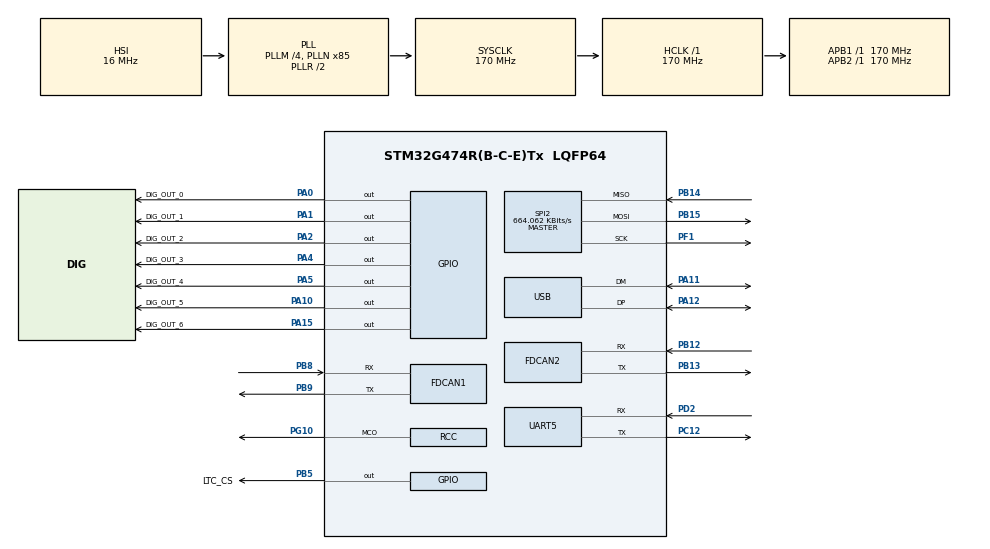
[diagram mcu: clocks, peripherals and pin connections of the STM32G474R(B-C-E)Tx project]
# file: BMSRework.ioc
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FDCAN1.CalculateBaudRateNominal=250000
FDCAN1.CalculateTimeBitNominal=4000
FDCAN1.CalculateTimeQuantumNominal=200.0
FDCAN1.NominalPrescaler=34
FDCAN1.NominalTimeSeg1=16
FDCAN1.NominalTimeSeg2=3
FDCAN2.CalculateBaudRateNominal=250000
FDCAN2.CalculateTimeBitNominal=4000
FDCAN2.CalculateTimeQuantumNominal=200.0
FDCAN2.NominalPrescaler=34
FDCAN2.NominalTimeSeg1=16
FDCAN2.NominalTimeSeg2=3
Mcu.Family=STM32G4
Mcu.Name=STM32G474R(B-C-E)Tx
Mcu.Package=LQFP64
NVIC.PriorityGroup=NVIC_PRIORITYGROUP_4
NVIC.TIM6_DAC_IRQn=true\:15\:0\:false\:false\:true\:false\:true\:true
NVIC.TimeBase=TIM6_DAC_IRQn
NVIC.TimeBaseIP=TIM6
NVIC.USB_LP_IRQn=true\:0\:0\:false\:false\:true\:false\:true\:true
PA0.GPIO_Label=DIG_OUT_0
PA0.Signal=GPIO_Output
PA1.GPIO_Label=DIG_OUT_1
PA1.Signal=GPIO_Output
PA10.GPIO_Label=DIG_OUT_5
PA10.Signal=GPIO_Output
PA11.Mode=Device
PA11.Signal=USB_DM
PA12.Mode=Device
PA12.Signal=USB_DP
PA13.Signal=SYS_JTMS-SWDIO
PA14.Signal=SYS_JTCK-SWCLK
PA15.GPIO_Label=DIG_OUT_6
PA15.Signal=GPIO_Output
PA2.GPIO_Label=DIG_OUT_2
PA2.Signal=GPIO_Output
PA4.GPIO_Label=DIG_OUT_3
PA4.Signal=GPIO_Output
PA5.GPIO_Label=DIG_OUT_4
PA5.Signal=GPIO_Output
PA6.Signal=QUADSPI1_BK1_IO3
PA7.Signal=QUADSPI1_BK1_IO2
PA8.Signal=I2C2_SDA
PA9.Signal=I2C2_SCL
PB12.Mode=FDCAN_Activate
PB12.Signal=FDCAN2_RX
PB13.Mode=FDCAN_Activate
PB13.Signal=FDCAN2_TX
PB14.Mode=Full_Duplex_Master
PB14.Signal=SPI2_MISO
PB15.Mode=Full_Duplex_Master
PB15.Signal=SPI2_MOSI
PB5.GPIO_Label=LTC_CS
PB5.Signal=GPIO_Output
PB8-BOOT0.Mode=FDCAN_Activate
PB8-BOOT0.Signal=FDCAN1_RX
PB9.Mode=FDCAN_Activate
PB9.Signal=FDCAN1_TX
PC12.Mode=Asynchronous
PC12.Signal=UART5_TX
PD2.Mode=Asynchronous
PD2.Signal=UART5_RX
PF0-OSC_IN.Mode=HSE-External-Clock-Source
PF0-OSC_IN.Signal=RCC_OSC_IN
PF1-OSC_OUT.Mode=Full_Duplex_Master
PF1-OSC_OUT.Signal=SPI2_SCK
PG10-NRST.Mode=Clock-out
PG10-NRST.Signal=RCC_MCO
ProjectManager.HeapSize=0x200
ProjectManager.StackSize=0x400
ProjectManager.TargetToolchain=CMake
RCC.ADC12Freq_Value=170000000
RCC.ADC345Freq_Value=170000000
RCC.AHBFreq_Value=170000000
RCC.APB1Freq_Value=170000000
RCC.APB1TimFreq_Value=170000000
RCC.APB2Freq_Value=170000000
RCC.APB2TimFreq_Value=170000000
RCC.CK48CLockSelection=RCC_USBCLKSOURCE_HSI48
RCC.CortexFreq_Value=170000000
RCC.EXTERNAL_CLOCK_VALUE=12288000
RCC.HCLKFreq_Value=170000000
RCC.HSE_VALUE=8000000
RCC.HSI48_VALUE=48000000
RCC.HSI_VALUE=16000000
RCC.LSE_VALUE=32768
RCC.PLLM=RCC_PLLM_DIV4
RCC.PLLN=85
RCC.SYSCLKFreq_VALUE=170000000
RCC.SYSCLKSource=RCC_SYSCLKSOURCE_PLLCLK
RCC.USBFreq_Value=48000000
RCC.VCOOutputFreq_Value=340000000
SPI2.BaudRatePrescaler=SPI_BAUDRATEPRESCALER_256
SPI2.CLKPhase=SPI_PHASE_2EDGE
SPI2.CalculateBaudRate=664.062 KBits/s
SPI2.DataSize=SPI_DATASIZE_8BIT
SPI2.Direction=SPI_DIRECTION_2LINES
SPI2.Mode=SPI_MODE_MASTER
SPI2.VirtualType=VM_MASTER
USB_DEVICE.CLASS_NAME_FS=CDC
USB_DEVICE.VirtualMode=Cdc
USB_DEVICE.VirtualModeFS=Cdc_FS
VP_SYS_VS_DBSignals.Mode=DisableDeadBatterySignals
VP_SYS_VS_tim6.Mode=TIM6
VP_USB_DEVICE_VS_USB_DEVICE_CDC_FS.Mode=CDC_FS
board=custom

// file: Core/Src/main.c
/* USER CODE BEGIN Header */
/**
  ******************************************************************************
  * @file           : main.c
  * @brief          : Main program body
  ******************************************************************************
  * @attention
  *
  * Copyright (c) 2026 STMicroelectronics.
  * All rights reserved.
  *
  * This software is licensed under terms that can be found in the LICENSE file
  * in the root directory of this software component.
  * If no LICENSE file comes with this software, it is provided AS-IS.
  *
  ******************************************************************************
  */
/*

Main sets up freeRTOS scheduler, global variables, and defines the freeRTOS Tasks. Keep as little code here as possible, and
instead define functions and logic in another file and link it here to avoid confusion and complexity.

*/
/* USER CODE END Header */
#include "main.h"
#include "usb_device.h"

/* USER CODE BEGIN Includes */

#include "include/control.h"
#include "include/ltc6811.h"
// #include "usbd_cdc_if.h"
#include "include/bmsInterface.h"
#include <stdint.h>
#include "include/dbg_print.h"

// #include <stdint.h>
// #include <stdio.h>

/* USER CODE END Includes */

FDCAN_HandleTypeDef hfdcan1;
FDCAN_HandleTypeDef hfdcan2;

SPI_HandleTypeDef hspi2;

UART_HandleTypeDef huart5;

/* USER CODE BEGIN PV */

///////////// GLOBAL variables and data structs /////////////

/* init itc6811 driver */
ltc6811_t g_ltc;

/* init BMS State */
BmsState bmsState;

/* init Modules data struct */
Modules_t modules;

/* USER CODE END PV */

void SystemClock_Config(void);
static void MX_GPIO_Init(void);
static void MX_FDCAN1_Init(void);
static void MX_FDCAN2_Init(void);
static void MX_SPI2_Init(void);
static void MX_UART5_Init(void);

/* USER CODE BEGIN 0 */

/*
Once BMS enters error state, interrupts are disabled and freeRTOS does not run any more tasks,
thus vTaskDelay does not work inside the error state loop. A another delay functions is needed
that counts system ticks that can work without freeRTOS
*/
static void ErrorDelayMs(uint32_t ms)
{
  CoreDebug->DEMCR |= CoreDebug_DEMCR_TRCENA_Msk; /* enable DWT */
  DWT->CTRL |= DWT_CTRL_CYCCNTENA_Msk;

  uint32_t start = DWT->CYCCNT;
  uint32_t cycles = ms * (SystemCoreClock / 1000U);

  while ((DWT->CYCCNT - start) < cycles) {
  }
}

/* USER CODE END 0 */

int main(void)
{

  /* MCU Configuration--------------------------------------------------------*/

  /* Reset of all peripherals, Initializes the Flash interface and the Systick. */
  HAL_Init();

  /* USER CODE BEGIN Init */
  dbg_init();

  /* USER CODE END Init */

  /* Configure the system clock */
  SystemClock_Config();

  /* Initialize all configured peripherals */
  MX_GPIO_Init();
  MX_FDCAN1_Init();
  MX_FDCAN2_Init();
  MX_USB_Device_Init();
  MX_SPI2_Init();
  MX_UART5_Init();

  /* Infinite loop */
  while (1)
  {

  }
}

void SystemClock_Config(void)
{
  RCC_OscInitTypeDef RCC_OscInitStruct = {0};
  RCC_ClkInitTypeDef RCC_ClkInitStruct = {0};

  /** Configure the main internal regulator output voltage
  */
  HAL_PWREx_ControlVoltageScaling(PWR_REGULATOR_VOLTAGE_SCALE1_BOOST);

  /** Initializes the RCC Oscillators according to the specified parameters
  * in the RCC_OscInitTypeDef structure.
  */
  RCC_OscInitStruct.OscillatorType = RCC_OSCILLATORTYPE_HSI|RCC_OSCILLATORTYPE_HSI48;
  RCC_OscInitStruct.HSIState = RCC_HSI_ON;
  RCC_OscInitStruct.HSICalibrationValue = RCC_HSICALIBRATION_DEFAULT;
  RCC_OscInitStruct.HSI48State = RCC_HSI48_ON;
  RCC_OscInitStruct.PLL.PLLState = RCC_PLL_ON;
  RCC_OscInitStruct.PLL.PLLSource = RCC_PLLSOURCE_HSI;
  RCC_OscInitStruct.PLL.PLLM = RCC_PLLM_DIV4;
  RCC_OscInitStruct.PLL.PLLN = 85;
  RCC_OscInitStruct.PLL.PLLP = RCC_PLLP_DIV2;
  RCC_OscInitStruct.PLL.PLLQ = RCC_PLLQ_DIV2;
  RCC_OscInitStruct.PLL.PLLR = RCC_PLLR_DIV2;
  if (HAL_RCC_OscConfig(&RCC_OscInitStruct) != HAL_OK)
  {
    Error_Handler();
  }

  /** Initializes the CPU, AHB and APB buses clocks
  */
  RCC_ClkInitStruct.ClockType = RCC_CLOCKTYPE_HCLK|RCC_CLOCKTYPE_SYSCLK
                              |RCC_CLOCKTYPE_PCLK1|RCC_CLOCKTYPE_PCLK2;
  RCC_ClkInitStruct.SYSCLKSource = RCC_SYSCLKSOURCE_PLLCLK;
  RCC_ClkInitStruct.AHBCLKDivider = RCC_SYSCLK_DIV1;
  RCC_ClkInitStruct.APB1CLKDivider = RCC_HCLK_DIV1;
  RCC_ClkInitStruct.APB2CLKDivider = RCC_HCLK_DIV1;

  if (HAL_RCC_ClockConfig(&RCC_ClkInitStruct, FLASH_LATENCY_4) != HAL_OK)
  {
    Error_Handler();
  }
  HAL_RCC_MCOConfig(RCC_MCO_PG10, RCC_MCO1SOURCE_HSI, RCC_MCODIV_1);
}

static void MX_FDCAN1_Init(void)
{

  hfdcan1.Instance = FDCAN1;
  hfdcan1.Init.ClockDivider = FDCAN_CLOCK_DIV1;
  hfdcan1.Init.FrameFormat = FDCAN_FRAME_CLASSIC;
  hfdcan1.Init.Mode = FDCAN_MODE_NORMAL;
  hfdcan1.Init.AutoRetransmission = DISABLE;
  hfdcan1.Init.TransmitPause = DISABLE;
  hfdcan1.Init.ProtocolException = DISABLE;
  hfdcan1.Init.NominalPrescaler = 34;
  hfdcan1.Init.NominalSyncJumpWidth = 1;
  hfdcan1.Init.NominalTimeSeg1 = 16;
  hfdcan1.Init.NominalTimeSeg2 = 3;
  hfdcan1.Init.DataPrescaler = 1;
  hfdcan1.Init.DataSyncJumpWidth = 1;
  hfdcan1.Init.DataTimeSeg1 = 1;
  hfdcan1.Init.DataTimeSeg2 = 1;
  hfdcan1.Init.StdFiltersNbr = 0;
  hfdcan1.Init.ExtFiltersNbr = 0;
  hfdcan1.Init.TxFifoQueueMode = FDCAN_TX_FIFO_OPERATION;
  if (HAL_FDCAN_Init(&hfdcan1) != HAL_OK)
  {
    Error_Handler();
  }
  /* USER CODE BEGIN FDCAN1_Init 2 */

  FDCAN_FilterTypeDef filter;
  filter.IdType = FDCAN_STANDARD_ID;
  filter.FilterIndex = 0;
  filter.FilterType = FDCAN_FILTER_MASK;
  filter.FilterConfig = FDCAN_FILTER_TO_RXFIFO0;

  filter.FilterID1 = 0x000;
  filter.FilterID2 = 0x000;

  HAL_FDCAN_ConfigFilter(&hfdcan1, &filter);

  HAL_FDCAN_Start(&hfdcan1);

  HAL_FDCAN_ActivateNotification(&hfdcan1, FDCAN_IT_RX_FIFO0_NEW_MESSAGE, 0);

  /* USER CODE END FDCAN1_Init 2 */

}

static void MX_FDCAN2_Init(void)
{

  hfdcan2.Instance = FDCAN2;
  hfdcan2.Init.ClockDivider = FDCAN_CLOCK_DIV1;
  hfdcan2.Init.FrameFormat = FDCAN_FRAME_CLASSIC;
  hfdcan2.Init.Mode = FDCAN_MODE_NORMAL;
  hfdcan2.Init.AutoRetransmission = DISABLE;
  hfdcan2.Init.TransmitPause = DISABLE;
  hfdcan2.Init.ProtocolException = DISABLE;
  hfdcan2.Init.NominalPrescaler = 34;
  hfdcan2.Init.NominalSyncJumpWidth = 1;
  hfdcan2.Init.NominalTimeSeg1 = 16;
  hfdcan2.Init.NominalTimeSeg2 = 3;
  hfdcan2.Init.DataPrescaler = 1;
  hfdcan2.Init.DataSyncJumpWidth = 1;
  hfdcan2.Init.DataTimeSeg1 = 1;
  hfdcan2.Init.DataTimeSeg2 = 1;
  hfdcan2.Init.StdFiltersNbr = 0;
  hfdcan2.Init.ExtFiltersNbr = 0;
  hfdcan2.Init.TxFifoQueueMode = FDCAN_TX_FIFO_OPERATION;
  if (HAL_FDCAN_Init(&hfdcan2) != HAL_OK)
  {
    Error_Handler();
  }
  /* USER CODE BEGIN FDCAN2_Init 2 */

  FDCAN_FilterTypeDef filter;
  filter.IdType = FDCAN_STANDARD_ID;
  filter.FilterIndex = 0;
  filter.FilterType = FDCAN_FILTER_MASK;
  filter.FilterConfig = FDCAN_FILTER_TO_RXFIFO0;

  filter.FilterID1 = 0x000;
  filter.FilterID2 = 0x000;

  HAL_FDCAN_ConfigFilter(&hfdcan2, &filter);

  HAL_FDCAN_Start(&hfdcan2);

  HAL_FDCAN_ActivateNotification(&hfdcan2, FDCAN_IT_RX_FIFO0_NEW_MESSAGE, 0);

  /* USER CODE END FDCAN2_Init 2 */

}

static void MX_SPI2_Init(void)
{

  /* SPI2 parameter configuration*/
  hspi2.Instance = SPI2;
  hspi2.Init.Mode = SPI_MODE_MASTER;
  hspi2.Init.Direction = SPI_DIRECTION_2LINES;
  hspi2.Init.DataSize = SPI_DATASIZE_8BIT;
  hspi2.Init.CLKPolarity = SPI_POLARITY_LOW;
  hspi2.Init.CLKPhase = SPI_PHASE_2EDGE;
  hspi2.Init.NSS = SPI_NSS_SOFT;
  hspi2.Init.BaudRatePrescaler = SPI_BAUDRATEPRESCALER_256;
  hspi2.Init.FirstBit = SPI_FIRSTBIT_MSB;
  hspi2.Init.TIMode = SPI_TIMODE_DISABLE;
  hspi2.Init.CRCCalculation = SPI_CRCCALCULATION_DISABLE;
  hspi2.Init.CRCPolynomial = 7;
  hspi2.Init.CRCLength = SPI_CRC_LENGTH_DATASIZE;
  hspi2.Init.NSSPMode = SPI_NSS_PULSE_DISABLE;
  if (HAL_SPI_Init(&hspi2) != HAL_OK)
  {
    Error_Handler();
  }
  /* USER CODE BEGIN SPI2_Init 2 */

  /* init LTC6811 driver */
  /* TODO init with 1 IC for flat bench testing ONLY */
  #if 1
  if (ltc6811_init(&g_ltc, &hspi2, LTC_CS_GPIO_Port, LTC_CS_Pin, 1) != LTC6811_OK)
  #else
  if (ltc6811_init(&g_ltc, &hspi2, LTC_CS_GPIO_Port, LTC_CS_Pin, kNumSlaveICs) != LTC6811_OK)
  #endif
  {
    Error_Handler();
  }

  #if 0
  /* uses a HAL_Delay which is okay because this is not inside a freeRTOS Task */
  if (ltc6811_selftest_cells(&g_ltc) != LTC6811_OK)
  {
    Error_Handler();
  }

  /* call pack cfga for each IC to configure with default bitmask */
  // ltc6811_pack_cfga(cfg[0], 1, 0, 0, 0, 0, 0);

  /* TODO: hardware testing */

  uint8_t write_data[1][LTC6811_REG_BYTES];
  uint8_t read_data[1][LTC6811_REG_BYTES];
  uint16_t pec_bad = 0;

  ltc6811_pack_cfga(write_data[0], 1, 0, 0, 0, 0, 0);

  if (ltc6811_write_group(&g_ltc, LTC6811_WRCFGA, write_data) != LTC6811_OK)
  {
    Error_Handler();
  }

  if (ltc6811_read_group(&g_ltc, LTC6811_RDCFGA, read_data, &pec_bad) != LTC6811_OK)
  {
    Error_Handler();
  }

  for (int i = 0; i < LTC6811_REG_BYTES; i++)
  {
    if (read_data[0][i] != write_data[0][i])
    {
      Error_Handler();
    }
  }

  #endif
  /* USER CODE END SPI2_Init 2 */

}

static void MX_UART5_Init(void)
{

  huart5.Instance = UART5;
  huart5.Init.BaudRate = 115200;
  huart5.Init.WordLength = UART_WORDLENGTH_8B;
  huart5.Init.StopBits = UART_STOPBITS_1;
  huart5.Init.Parity = UART_PARITY_NONE;
  huart5.Init.Mode = UART_MODE_TX_RX;
  huart5.Init.HwFlowCtl = UART_HWCONTROL_NONE;
  huart5.Init.OverSampling = UART_OVERSAMPLING_16;
  huart5.Init.OneBitSampling = UART_ONE_BIT_SAMPLE_DISABLE;
  huart5.Init.ClockPrescaler = UART_PRESCALER_DIV1;
  huart5.AdvancedInit.AdvFeatureInit = UART_ADVFEATURE_NO_INIT;
  if (HAL_UART_Init(&huart5) != HAL_OK)
  {
    Error_Handler();
  }
  if (HAL_UARTEx_SetTxFifoThreshold(&huart5, UART_TXFIFO_THRESHOLD_1_8) != HAL_OK)
  {
    Error_Handler();
  }
  if (HAL_UARTEx_SetRxFifoThreshold(&huart5, UART_RXFIFO_THRESHOLD_1_8) != HAL_OK)
  {
    Error_Handler();
  }
  if (HAL_UARTEx_DisableFifoMode(&huart5) != HAL_OK)
  {
    Error_Handler();
  }

}

static void MX_GPIO_Init(void)
{
  GPIO_InitTypeDef GPIO_InitStruct = {0};

  /* GPIO Ports Clock Enable */
  __HAL_RCC_GPIOF_CLK_ENABLE();
  __HAL_RCC_GPIOG_CLK_ENABLE();
  __HAL_RCC_GPIOA_CLK_ENABLE();
  __HAL_RCC_GPIOB_CLK_ENABLE();
  __HAL_RCC_GPIOC_CLK_ENABLE();
  __HAL_RCC_GPIOD_CLK_ENABLE();

  /*Configure GPIO pin Output Level */
  HAL_GPIO_WritePin(GPIOA, DIG_OUT_0_Pin|DIG_OUT_1_Pin|DIG_OUT_2_Pin|DIG_OUT_3_Pin
                          |DIG_OUT_4_Pin|DIG_OUT_5_Pin|DIG_OUT_6_Pin, GPIO_PIN_RESET);

  /*Configure GPIO pin Output Level */
  HAL_GPIO_WritePin(LTC_CS_GPIO_Port, LTC_CS_Pin, GPIO_PIN_RESET);

  /*Configure GPIO pin : PG10 */
  GPIO_InitStruct.Pin = GPIO_PIN_10;
  GPIO_InitStruct.Mode = GPIO_MODE_AF_PP;
  GPIO_InitStruct.Pull = GPIO_NOPULL;
  GPIO_InitStruct.Speed = GPIO_SPEED_FREQ_LOW;
  GPIO_InitStruct.Alternate = GPIO_AF0_MCO;
  HAL_GPIO_Init(GPIOG, &GPIO_InitStruct);

  /*Configure GPIO pins : DIG_OUT_0_Pin DIG_OUT_1_Pin DIG_OUT_2_Pin DIG_OUT_3_Pin
                           DIG_OUT_4_Pin DIG_OUT_5_Pin DIG_OUT_6_Pin */
  GPIO_InitStruct.Pin = DIG_OUT_0_Pin|DIG_OUT_1_Pin|DIG_OUT_2_Pin|DIG_OUT_3_Pin
                          |DIG_OUT_4_Pin|DIG_OUT_5_Pin|DIG_OUT_6_Pin;
  GPIO_InitStruct.Mode = GPIO_MODE_OUTPUT_PP;
  GPIO_InitStruct.Pull = GPIO_NOPULL;
  GPIO_InitStruct.Speed = GPIO_SPEED_FREQ_LOW;
  HAL_GPIO_Init(GPIOA, &GPIO_InitStruct);

  /*Configure GPIO pins : PA6 PA7 */
  GPIO_InitStruct.Pin = GPIO_PIN_6|GPIO_PIN_7;
  GPIO_InitStruct.Mode = GPIO_MODE_AF_PP;
  GPIO_InitStruct.Pull = GPIO_NOPULL;
  GPIO_InitStruct.Speed = GPIO_SPEED_FREQ_LOW;
  GPIO_InitStruct.Alternate = GPIO_AF10_QUADSPI;
  HAL_GPIO_Init(GPIOA, &GPIO_InitStruct);

  /*Configure GPIO pins : PA8 PA9 */
  GPIO_InitStruct.Pin = GPIO_PIN_8|GPIO_PIN_9;
  GPIO_InitStruct.Mode = GPIO_MODE_AF_OD;
  GPIO_InitStruct.Pull = GPIO_NOPULL;
  GPIO_InitStruct.Speed = GPIO_SPEED_FREQ_LOW;
  GPIO_InitStruct.Alternate = GPIO_AF4_I2C2;
  HAL_GPIO_Init(GPIOA, &GPIO_InitStruct);

  /*Configure GPIO pin : LTC_CS_Pin */
  GPIO_InitStruct.Pin = LTC_CS_Pin;
  GPIO_InitStruct.Mode = GPIO_MODE_OUTPUT_PP;
  GPIO_InitStruct.Pull = GPIO_NOPULL;
  GPIO_InitStruct.Speed = GPIO_SPEED_FREQ_LOW;
  HAL_GPIO_Init(LTC_CS_GPIO_Port, &GPIO_InitStruct);

}

void HAL_TIM_PeriodElapsedCallback(TIM_HandleTypeDef *htim)
{
  if (htim->Instance == TIM6)
  {
    HAL_IncTick();
  }
}

void Error_Handler(void)
{
  /* USER CODE BEGIN Error_Handler_Debug */
  /* User can add his own implementation to report the HAL error return state */

  /* this disables hardware interrupts and so no other tasks will run */
  __disable_irq();

  /* If BMS enters the error handler during set up instead of during drive mode then it needs to enter FAULT state */
  /* set BMS state to FAULT state */
  bmsState = BMS_STATE_FAULT;

  for (;;)
  {
    /* Toggle all LEDs */
    HAL_GPIO_TogglePin(GPIOA, GPIO_PIN_0 | GPIO_PIN_1 | GPIO_PIN_2 |
                                  GPIO_PIN_4 | GPIO_PIN_5 | GPIO_PIN_10 |
                                  GPIO_PIN_15);
    /* send an error msg to serial terminal */
    // TODO: what other error handling is needed here?
    printf("ERROR\n");

    dbg_printf("TESTING ERROR OUTPUT\n");

    /* using defined error delay function for time delay because interrupts are disabled in error state */
    ErrorDelayMs(250);
  }
  /* USER CODE END Error_Handler_Debug */
}
